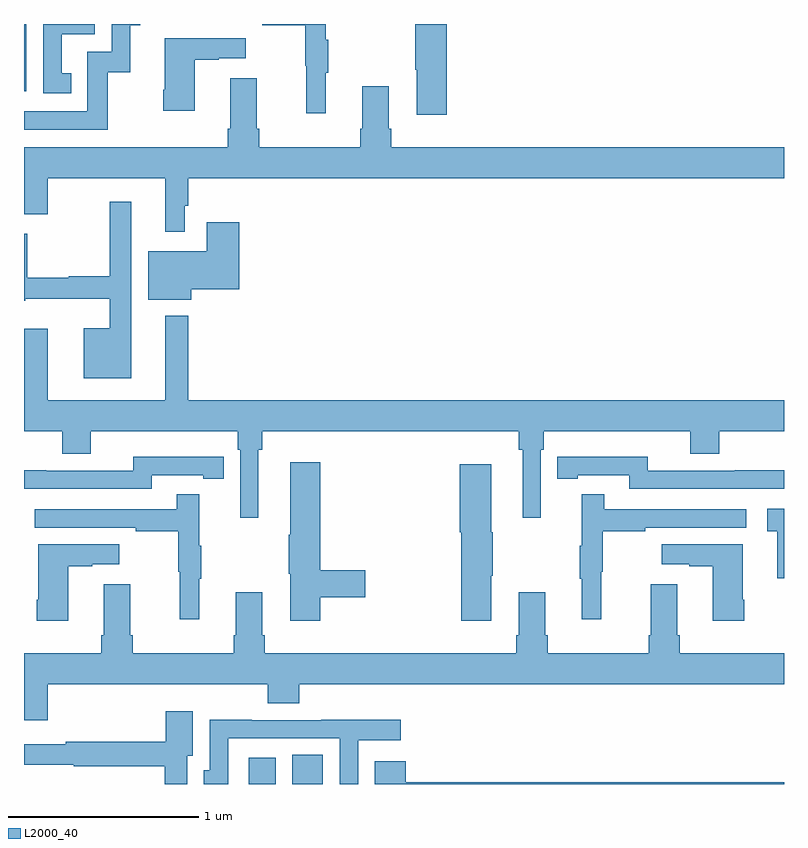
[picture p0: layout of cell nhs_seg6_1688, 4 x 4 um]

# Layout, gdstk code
import gdstk
lib = gdstk.Library(unit=1e-6, precision=1e-09)
def R(c, l, rs):  # rectangles x0, y0, x1, y1
    for r in rs: c.add(gdstk.rectangle(r[:2], r[2:], *l))
def P(c, l, *ps):  # polygons
    for p in ps: c.add(gdstk.Polygon(p, *l))
L2000_40 = (2000, 40)

nhs_seg6_1688 = lib.new_cell('nhs_seg6_1688')
R(nhs_seg6_1688, L2000_40, [(214.184,925.5,214.324,925.639), (214.412,925.5,214.573,925.655), (213,929.145,213.012,929.5)])
P(nhs_seg6_1688, L2000_40, [(213.442,929.247),(213.56,929.247),(213.56,929.493),(213.613,929.493),(213.613,929.5),(213.462,929.5),(213.462,929.355),(213.333,929.355),(213.333,929.04),(213,929.04),(213,928.944),(213.442,928.944)],
  [(213.248,929.241),(213.199,929.241),(213.199,929.445),(213.372,929.445),(213.372,929.5),(213.102,929.5),(213.102,929.136),(213.248,929.136)],
  [(215.225,929.5),(215.059,929.5),(215.059,929.26),(215.066,929.26),(215.066,929.022),(215.225,929.022)],
  [(214.589,929.243),(214.6,929.243),(214.6,929.417),(214.589,929.417),(214.589,929.5),(214.255,929.5),(214.255,929.494),(214.479,929.494),(214.479,929.28),(214.486,929.28),(214.486,929.031),(214.589,929.031)],
  [(213.898,929.311),(214.025,929.311),(214.025,929.321),(214.168,929.321),(214.168,929.425),(213.74,929.425),(213.74,929.155),(213.733,929.155),(213.733,929.043),(213.898,929.043)],
  [(213.847,928.543),(213.865,928.543),(213.865,928.688),(217,928.688),(217,928.852),(214.934,928.852),(214.934,928.948),(214.921,928.948),(214.921,929.173),(214.781,929.173),(214.781,928.948),(214.769,928.948),(214.769,928.852),(214.238,928.852),(214.238,928.948),(214.225,928.948),(214.225,929.215),(214.085,929.215),(214.085,928.948),(214.073,928.948),(214.073,928.852),(213,928.852),(213,928.5),(213.124,928.5),(213.124,928.688),(213.743,928.688),(213.743,928.407),(213.847,928.407)],
  [(213.565,928.564),(213.451,928.564),(213.451,928.172),(213.236,928.172),(213.236,928.165),(213.018,928.165),(213.018,928.396),(213,928.396),(213,928.043),(213.006,928.043),(213.006,928.055),(213.451,928.055),(213.451,927.898),(213.314,927.898),(213.314,927.635),(213.565,927.635)],
  [(213.88,928.103),(214.133,928.103),(214.133,928.456),(213.962,928.456),(213.962,928.303),(213.653,928.303),(213.653,928.049),(213.88,928.049)],
  [(214.234,927.26),(214.253,927.26),(214.253,927.356),(215.605,927.356),(215.605,927.26),(215.624,927.26),(215.624,926.901),(215.721,926.901),(215.721,927.26),(215.735,927.26),(215.735,927.356),(216.506,927.356),(216.506,927.239),(216.659,927.239),(216.659,927.356),(217,927.356),(217,927.52),(213.865,927.52),(213.865,927.964),(213.743,927.964),(213.743,927.52),(213.124,927.52),(213.124,927.895),(213,927.895),(213,927.356),(213.2,927.356),(213.2,927.239),(213.352,927.239),(213.352,927.356),(214.124,927.356),(214.124,927.26),(214.137,927.26),(214.137,926.901),(214.234,926.901)],
  [(213.672,927.126),(213.944,927.126),(213.944,927.106),(214.052,927.106),(214.052,927.222),(213.944,927.222),(213.944,927.223),(213.576,927.223),(213.576,927.15),(213.116,927.15),(213.116,927.152),(213,927.152),(213,927.054),(213.672,927.054)],
  [(217,927.152),(216.742,927.152),(216.742,927.15),(216.282,927.15),(216.282,927.223),(215.914,927.223),(215.914,927.222),(215.806,927.222),(215.806,927.106),(215.914,927.106),(215.914,927.126),(216.186,927.126),(216.186,927.054),(217,927.054)],
  [(214.559,926.482),(214.795,926.482),(214.795,926.624),(214.559,926.624),(214.559,927.193),(214.4,927.193),(214.4,926.813),(214.393,926.813),(214.393,926.607),(214.4,926.607),(214.4,926.358),(214.559,926.358)],
  [(215.458,926.596),(215.466,926.596),(215.466,926.826),(215.458,926.826),(215.458,927.184),(215.294,927.184),(215.294,926.826),(215.3,926.826),(215.3,926.358),(215.458,926.358)],
  [(216.038,926.616),(216.046,926.616),(216.046,926.83),(216.269,926.83),(216.269,926.85),(216.802,926.85),(216.802,926.946),(216.053,926.946),(216.053,927.025),(215.936,927.025),(215.936,926.753),(215.925,926.753),(215.925,926.579),(215.936,926.579),(215.936,926.367),(216.038,926.367)],
  [(213.923,926.579),(213.934,926.579),(213.934,926.753),(213.923,926.753),(213.923,927.025),(213.805,927.025),(213.805,926.946),(213.057,926.946),(213.057,926.85),(213.589,926.85),(213.589,926.83),(213.813,926.83),(213.813,926.616),(213.82,926.616),(213.82,926.367),(213.923,926.367)],
  [(217,926.95),(216.912,926.95),(216.912,926.829),(216.965,926.829),(216.965,926.583),(217,926.583)],
  [(216.792,926.47),(216.784,926.47),(216.784,926.761),(216.357,926.761),(216.357,926.657),(216.5,926.657),(216.5,926.647),(216.626,926.647),(216.626,926.358),(216.792,926.358)],
  [(213.232,926.647),(213.359,926.647),(213.359,926.657),(213.502,926.657),(213.502,926.761),(213.074,926.761),(213.074,926.47),(213.067,926.47),(213.067,926.358),(213.232,926.358)],
  [(214.283,925.925),(214.448,925.925),(214.448,926.024),(217,926.024),(217,926.188),(216.452,926.188),(216.452,926.284),(216.439,926.284),(216.439,926.551),(216.299,926.551),(216.299,926.284),(216.287,926.284),(216.287,926.188),(215.756,926.188),(215.756,926.284),(215.743,926.284),(215.743,926.509),(215.603,926.509),(215.603,926.284),(215.591,926.284),(215.591,926.188),(214.268,926.188),(214.268,926.284),(214.255,926.284),(214.255,926.509),(214.115,926.509),(214.115,926.284),(214.103,926.284),(214.103,926.188),(213.572,926.188),(213.572,926.284),(213.559,926.284),(213.559,926.551),(213.419,926.551),(213.419,926.284),(213.407,926.284),(213.407,926.188),(213,926.188),(213,925.836),(213.124,925.836),(213.124,926.024),(214.283,926.024)],
  [(213.859,925.649),(213.889,925.649),(213.889,925.882),(213.746,925.882),(213.746,925.723),(213.22,925.723),(213.22,925.71),(213,925.71),(213,925.602),(213.262,925.602),(213.262,925.594),(213.741,925.594),(213.741,925.5),(213.859,925.5)],
  [(214.074,925.74),(214.662,925.74),(214.662,925.5),(214.758,925.5),(214.758,925.73),(214.984,925.73),(214.984,925.838),(214.565,925.838),(214.565,925.836),(214.199,925.836),(214.199,925.838),(213.978,925.838),(213.978,925.572),(213.947,925.572),(213.947,925.5),(214.074,925.5)],
  [(217,925.508),(215.008,925.508),(215.008,925.621),(214.847,925.621),(214.847,925.5),(217,925.5)])

lib.write_gds('nhs_seg6_1688.gds')
